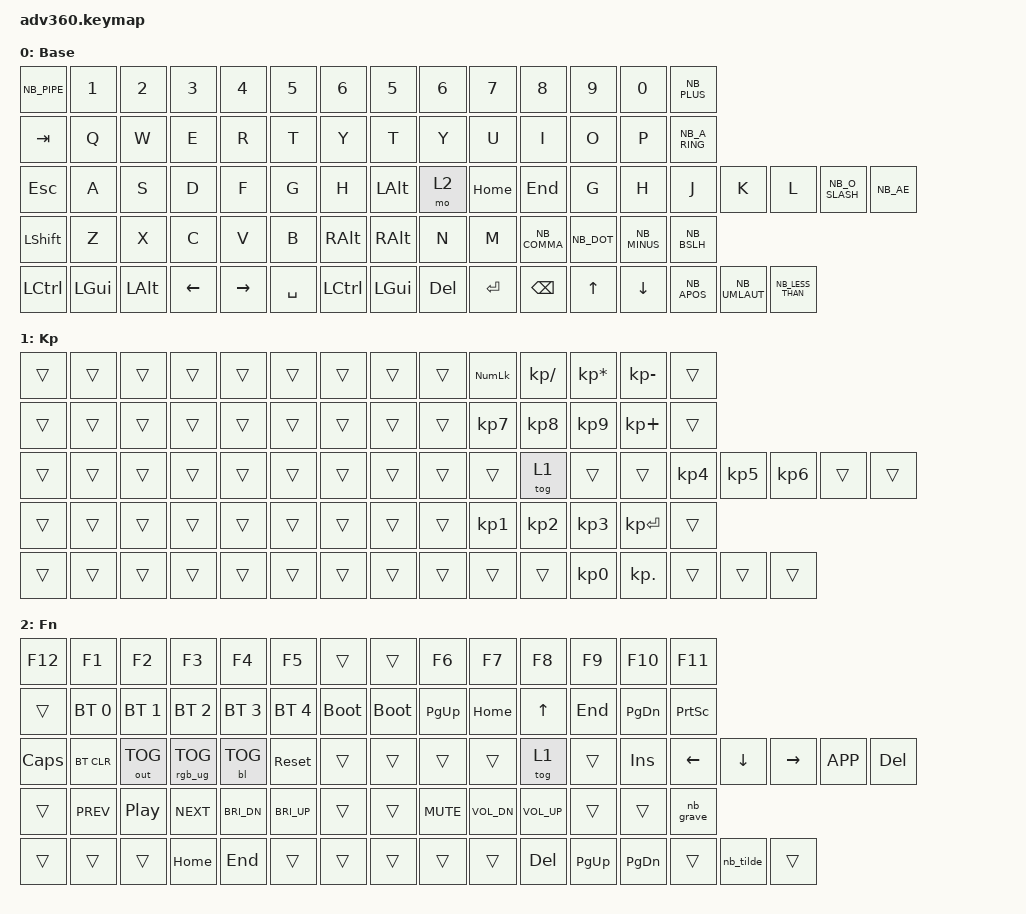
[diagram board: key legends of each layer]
/*
 * Kinesis Advantage 360 Pro - Linux / Windows-style layout (Norwegian)
 *
 * Layers
 *   0  Base    normal typing
 *   1  Kp      number pad          (toggle: Fn + right-thumb AltGr key)
 *   2  Fn      F-keys, navigation, media, Bluetooth, firmware
 *               (hold: left thumb, inner column, TOP key)
 *
 * Modifiers follow the Windows convention:
 *   Ctrl   bottom-left corner (pinky, where Windows puts it)  AND  left big thumb key
 *   Alt    left thumb, upper  AND  bottom row                 (Alt+Tab, Alt+F4)
 *   AltGr  right thumb AND left thumb (far)
 *            AltGr + 2 3 4 = @ GBP $     AltGr + 7 8 9 0 = { [ ] }
 *            AltGr + E = EUR             AltGr + the diaeresis key = ~
 *   Super  left thumb, inner bottom  AND  bottom row  (overview, Super+L, tiling)
 *
 * Character set follows the Norwegian ISO layout, so the OS keyboard layout
 * must be set to Norwegian ("no"). See config/keys_nb.h for the NB_* defines.
 */

#include <dt-bindings/zmk/stp.h>
#include <behaviors.dtsi>
#include <dt-bindings/zmk/backlight.h>
#include <dt-bindings/zmk/bt.h>
#include <dt-bindings/zmk/keys.h>
#include <dt-bindings/zmk/outputs.h>
#include <dt-bindings/zmk/rgb.h>
#include "keys_nb.h"

/ {
    behaviors {
        #include "macros.dtsi"
      #include "version.dtsi"

        /* The Norwegian layout makes ` and ~ dead keys: you have to press
         * space afterwards to get the bare character. These emit them directly. */
        nb_grave: nb_grave {
            compatible = "zmk,behavior-macro";
            #binding-cells = <0>;
            bindings = <&kp NB_GRAVE>, <&kp SPACE>;
            display-name = "Grave";
        };

        nb_tilde: nb_tilde {
            compatible = "zmk,behavior-macro";
            #binding-cells = <0>;
            bindings = <&kp NB_TILDE>, <&kp SPACE>;
            display-name = "Tilde";
        };

        hm: homerow_mods {
            compatible = "zmk,behavior-hold-tap";
            label = "HOMEROW_MODS";
            #binding-cells = <2>;
            tapping-term-ms = <200>;
            quick_tap_ms = <175>;
            flavor = "tap-preferred";
            bindings = <&kp>, <&kp>;
        };
    };

    keymap {
        compatible = "zmk,keymap";

        /*
         *  |/§  1  2  3  4  5  [6]        [5]  6  7  8  9  0  +/?
         *  Tab  Q  W  E  R  T  [Y]        [T]  Y  U  I  O  P  Å
         *  Esc  A  S  D  F  G  [H]        [G]  H  J  K  L  Ø  Æ
         *  Shft Z  X  C  V  B                  N  M  ,  .  -  \
         *  Ctrl Sup Alt ←  →                    ↑  ↓  '  ¨  <
         *
         *  left thumb   Space(big) | Alt above Ctrl(big) | inner col: Fn, AltGr, Super
         *  right thumb  inner col: Home, AltGr, Del | End above Enter(big) | Bksp(big)
         */
        default_layer {
            display-name = "Base";
            bindings = <
                &kp NB_PIPE       &kp N1            &kp N2            &kp N3            &kp N4            &kp N5               &kp N6               &kp N5               &kp N6            &kp N7            &kp N8            &kp N9            &kp N0            &kp NB_PLUS
                &kp TAB           &kp Q             &kp W             &kp E             &kp R             &kp T                &kp Y                &kp T                &kp Y             &kp U             &kp I             &kp O             &kp P             &kp NB_A_RING
                &kp ESC           &kp A             &kp S             &kp D             &kp F             &kp G                &kp H                &kp LALT          &mo 2                &kp HOME          &kp END              &kp G                &kp H             &kp J             &kp K             &kp L             &kp NB_O_SLASH    &kp NB_AE
                &kp LSHFT         &kp Z             &kp X             &kp C             &kp V             &kp B                &kp RALT             &kp RALT             &kp N             &kp M             &kp NB_COMMA      &kp NB_DOT        &kp NB_MINUS      &kp NB_BSLH
                &kp LCTRL         &kp LGUI          &kp LALT          &kp LEFT          &kp RIGHT            &kp SPACE         &kp LCTRL         &kp LGUI             &kp DEL           &kp RET           &kp BSPC             &kp UP            &kp DOWN          &kp NB_APOS       &kp NB_UMLAUT     &kp NB_LESS_THAN
            >;
        };

        /* Number pad over the right hand. Everything else falls through to
         * the base layer, so letters and modifiers keep working.
         * Toggle off with the same right-thumb key that turned it on. */
        keypad {
            display-name = "Kp";
            bindings = <
                &trans           &trans           &trans           &trans           &trans           &trans              &trans              &trans              &trans           &kp KP_NUM       &kp KP_DIVIDE    &kp KP_MULTIPLY  &kp KP_MINUS     &trans
                &trans           &trans           &trans           &trans           &trans           &trans              &trans              &trans              &trans           &kp KP_N7        &kp KP_N8        &kp KP_N9        &kp KP_PLUS      &trans
                &trans           &trans           &trans           &trans           &trans           &trans              &trans              &trans           &trans              &trans           &tog 1              &trans              &trans           &kp KP_N4        &kp KP_N5        &kp KP_N6        &trans           &trans
                &trans           &trans           &trans           &trans           &trans           &trans              &trans              &trans              &trans           &kp KP_N1        &kp KP_N2        &kp KP_N3        &kp KP_ENTER     &trans
                &trans           &trans           &trans           &trans           &trans              &trans           &trans           &trans              &trans           &trans           &trans              &kp KP_N0        &kp KP_DOT       &trans           &trans           &trans
            >;
        };

        /* Hold the left thumb's inner-column top key.
         *   number row      -> F1..F10, F11 on '+', F12 on '|'
         *   Esc             -> Caps Lock
         *   ← → (left hand)  -> Home End
 *   ↑ ↓ (right hand) -> PgUp PgDn
         *   Y U I O P       -> PgUp Home ↑ End PgDn        (Å -> PrintScreen)
         *   H J K L         -> Insert ← ↓ →                (Ø -> Menu, Æ -> Delete)
         *   Z X C V B       -> prev, play/pause, next, brightness -/+
         *   N M ,           -> mute, volume -, volume +
         *   Q W E R T       -> Bluetooth profile 1..5      (A -> clear pairing)
         *   S D F G         -> USB/BT output, RGB, backlight, reboot
         *   inner columns   -> bootloader (flash mode)
         *   Backspace       -> Delete
         *   \ key           -> a real backtick   (not the dead key)
         *   diaeresis key   -> a real tilde      (not the dead key)
         */
        fn {
            display-name = "Fn";
            bindings = <
                &kp F12          &kp F1           &kp F2           &kp F3           &kp F4           &kp F5              &trans              &trans              &kp F6           &kp F7           &kp F8           &kp F9           &kp F10          &kp F11
                &trans           &bt BT_SEL 0     &bt BT_SEL 1     &bt BT_SEL 2     &bt BT_SEL 3     &bt BT_SEL 4        &bootloader         &bootloader         &kp PG_UP        &kp HOME         &kp UP           &kp END          &kp PG_DN        &kp PSCRN
                &kp CAPS         &bt BT_CLR       &out OUT_TOG     &rgb_ug RGB_TOG  &bl BL_TOG       &sys_reset          &trans              &trans           &trans              &trans           &tog 1              &trans              &kp INS          &kp LEFT         &kp DOWN         &kp RIGHT        &kp K_APP        &kp DEL
                &trans           &kp C_PREV       &kp C_PP         &kp C_NEXT       &kp C_BRI_DN     &kp C_BRI_UP        &trans              &trans              &kp C_MUTE       &kp C_VOL_DN     &kp C_VOL_UP     &trans           &trans           &nb_grave
                &trans           &trans           &trans           &kp HOME         &kp END             &trans           &trans           &trans              &trans           &trans           &kp DEL             &kp PG_UP        &kp PG_DN        &trans           &nb_tilde        &trans
            >;
        };
    };
};
